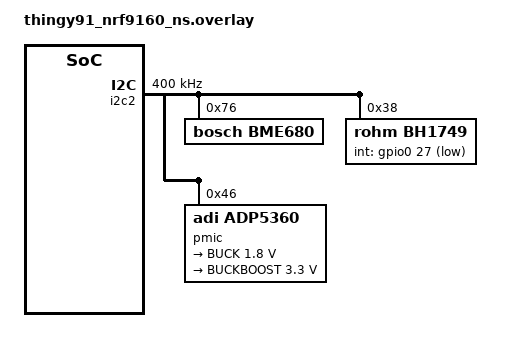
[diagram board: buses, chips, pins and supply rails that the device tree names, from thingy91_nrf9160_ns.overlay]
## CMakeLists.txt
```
# SPDX-License-Identifier: Apache-2.0

cmake_minimum_required(VERSION 3.20.0)

find_package(Zephyr REQUIRED HINTS $ENV{ZEPHYR_BASE})
project(thingy91_adp5360_simple)

target_sources(app PRIVATE src/main.c)
```

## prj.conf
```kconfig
CONFIG_LOG=y

# Add ADP5360 Configs for the onboard PMIC
CONFIG_I2C=y
CONFIG_ADP536X=y
```

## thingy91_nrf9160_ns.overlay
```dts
// To get started, press Ctrl+Space to bring up the completion menu and view the available nodes.

// You can also use the buttons in the sidebar to perform actions on nodes.
// Actions currently available include:

// * Enabling / disabling the node
// * Adding the bus to a bus
// * Removing the node
// * Connecting ADC channels

// For more help, browse the DeviceTree documentation at https://docs.zephyrproject.org/latest/guides/dts/index.html
// You can also visit the nRF DeviceTree extension documentation at https://docs.nordicsemi.com/bundle/nrf-connect-vscode/page/guides/ncs_configure_app.html#devicetree-support-in-the-extension
// This is already in the common.
&i2c2 {
	compatible = "nordic,nrf-twim";
	status = "okay";
	clock-frequency = <I2C_BITRATE_FAST>;

	pinctrl-0 = <&i2c2_default>;
	pinctrl-1 = <&i2c2_sleep>;
	pinctrl-names = "default", "sleep";
	bme680: bme680@76 {
		compatible = "bosch,bme680";
		reg = <0x76>;
	};

	bh1749: bh1749@38 {
		compatible = "rohm,bh1749";
		reg = <0x38>;
		int-gpios = <&gpio0 27 (GPIO_PULL_UP | GPIO_ACTIVE_LOW)>;
	};

	pmic@46 {
		compatible = "adi,adp5360";
		reg = <0x46>;

		regulators {
			compatible = "adi,adp5360-regulator";

			BUCK {
				regulator-min-microvolt = <1800000>;
				regulator-max-microvolt = <1800000>;
				regulator-init-microvolt = <1800000>;
				regulator-always-on;
				adi,enable-output-discharge;
			};

			BUCKBOOST {
				regulator-min-microvolt = <3300000>;
				regulator-max-microvolt = <3300000>;
				regulator-init-microvolt = <3300000>;
				regulator-always-on;
			};
		};
	};
};
```

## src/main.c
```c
/*
 * Copyright (c) 2012-2014 Wind River Systems, Inc.
 *
 * SPDX-License-Identifier: Apache-2.0
 */

#include <stdio.h>
#include <zephyr/kernel.h>
#include <zephyr/sys/printk.h>
#include <zephyr/logging/log.h>

#include <zephyr/drivers/i2c.h>
#include <zephyr/sys/util.h>

#if defined(CONFIG_ADP536X)
#include <adp536x.h>
#endif

#define DEBUG_USE_SYSINIT false // Set to true if you want to use sys_init the way the atv2/thingy board inits do.

#define ADP536X_I2C_DEVICE DEVICE_DT_GET(DT_NODELABEL(i2c2))

static bool g_started_up = false; // don't feel like using any sync primitives.

LOG_MODULE_REGISTER(thingy91_adp5360_main, LOG_LEVEL_ERR);

// Battery Sampling: timer will fire a battery charge request work queue item every time it finishes.
//! WorkQ
static struct k_work battery_soc_sample_work;
static void battery_soc_sample_work_fn(struct k_work *work)
{
	uint8_t battery_percentage_timer;
	adp536x_fg_soc(&battery_percentage_timer);
	printk("Batt percentage as uint8 : %d\n", battery_percentage_timer);
}

//! Timer
#define BATTERY_SAMPLE_INTERVAL_MS 5000

static void battery_sample_timer_handler(struct k_timer *timer);
K_TIMER_DEFINE(battery_sample_timer, battery_sample_timer_handler, NULL);

void battery_sample_timer_handler(struct k_timer *timer)
{
	k_work_init(&battery_soc_sample_work, battery_soc_sample_work_fn);
	k_work_submit(&battery_soc_sample_work);
}

// pmic init
static int power_mgmt_init(void)
{
	int err;

	err = adp536x_init(ADP536X_I2C_DEVICE);
	if (err)
	{
		LOG_ERR("ADP536X failed to initialize, error: %d\n", err);
		return err;
	}

	/* Sets the VBUS current limit to 500 mA. */
	err = adp536x_vbus_current_set(ADP536X_VBUS_ILIM_500mA);
	if (err)
	{
		LOG_ERR("Could not set VBUS current limit, error: %d\n", err);
		return err;
	}

	/* Sets the charging current to 320 mA. */
	err = adp536x_charger_current_set(ADP536X_CHG_CURRENT_320mA);
	if (err)
	{
		LOG_ERR("Could not set charging current, error: %d\n", err);
		return err;
	}

	/* Sets the charge current protection threshold to 400 mA. */
	err = adp536x_oc_chg_current_set(ADP536X_OC_CHG_THRESHOLD_400mA);
	if (err)
	{
		LOG_ERR("Could not set charge current protection, error: %d\n",
				err);
		return err;
	}

	err = adp536x_charging_enable(true);
	if (err)
	{
		LOG_ERR("Could not enable charging: %d\n", err);
		return err;
	}

	err = adp536x_fg_set_mode(ADP566X_FG_ENABLED, ADP566X_FG_MODE_SLEEP);
	if (err)
	{
		LOG_ERR("Could not enable fuel gauge: %d", err);
		return err;
	}

	return 0;
}

static int thingy91_board_init(void)
{
	int err;

	err = power_mgmt_init();
	if (err)
	{
		LOG_ERR("power_mgmt_init failed with error: %d", err);
		return err;
	}
	g_started_up = true;
	return 0;
}

int main(void)
{

	while (!g_started_up) // wait for g_started_up to go true, either by sys init or the startup thread.
	{
		k_yield();
	}
	k_timer_start(&battery_sample_timer, K_MSEC(1000), K_MSEC(BATTERY_SAMPLE_INTERVAL_MS));

	printk("Hello World! %s, battery percentage portions stripped out of atv2\n", CONFIG_BOARD);
	while (1)
	{
		k_msleep(5000);
	}
}

int startup_thread(void)
{
	printk("STARTUP Thread: Not using SYS_INIT for pmic inits\n");
#if (!DEBUG_USE_SYSINIT)
	if (thingy91_board_init() != 0)
		printk("Could not initialize PMIC\n");

	LOG_INF("STARTUP thread starting Software timer to sample battery");
	uint8_t battery_percentage_startup;
	adp536x_fg_soc(&battery_percentage_startup); // quick read when starting up
	printk("Batt percentage on startup: %d\n", battery_percentage_startup);
	return 0;
#endif
}

// You can uncomment this if you want. I think it's odd to do this way.
#if (DEBUG_USE_SYSINIT)
SYS_INIT(thingy91_board_init, POST_KERNEL, CONFIG_BOARD_INIT_PRIORITY);
#else
#define STACKSIZE 1024
#define STARTUP_THREAD_PRIORITY -1
K_THREAD_DEFINE(startup_thread_id, STACKSIZE, startup_thread, NULL, NULL, NULL,
				STARTUP_THREAD_PRIORITY, 0, 0);
#endif
```
